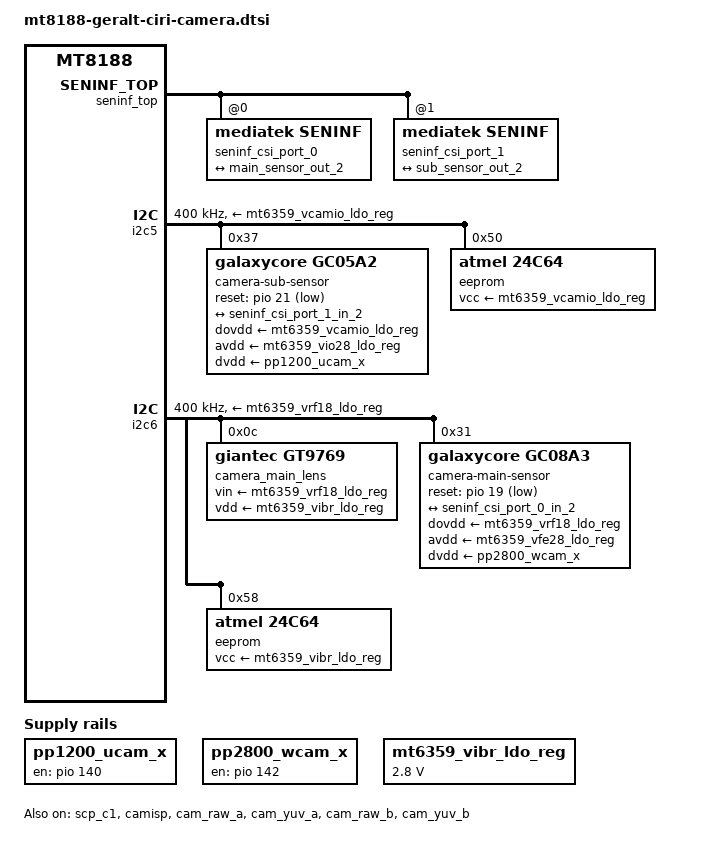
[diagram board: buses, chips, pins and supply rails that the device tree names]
// SPDX-License-Identifier: GPL-2.0
/* Copyright (c) 2023 MediaTek Inc. */

#include <dt-bindings/gpio/gpio.h>
#include <dt-bindings/media/video-interfaces.h>

/ {
	pp1200_ucam_x: pp1200-ucam-x {
		compatible = "regulator-fixed";
		regulator-name = "pp1200_ucam_x";
		gpio = <&pio 140 GPIO_ACTIVE_HIGH>;
		enable-active-high;
		pinctrl-names = "default";
		pinctrl-0 = <&pp1200_ucam_x_pins>;
	};

	pp2800_wcam_x: pp2800-wcam-x {
		compatible = "regulator-fixed";
		regulator-name = "pp2800_wcam_x";
		gpio = <&pio 142 GPIO_ACTIVE_HIGH>;
		enable-active-high;
		pinctrl-names = "default";
		pinctrl-0 = <&pp2800_wcam_x_pins>;
	};
};

&seninf_top {
	status = "okay";

		seninf_csi_port_0: csi-receiver@0 {
			compatible = "mediatek,seninf";
			csi-port = "0";
			port {
				seninf_csi_port_0_in_2: endpoint@2 {
					data-lanes = <1 2 3 4>;
					remote-endpoint = <&main_sensor_out_2>;
				};
			};
		};

		seninf_csi_port_1: csi-receiver@1 {
			compatible = "mediatek,seninf";
			csi-port = "1";
			port {
				seninf_csi_port_1_in_2: endpoint@2 {
					data-lanes = <1 4>;
					remote-endpoint = <&sub_sensor_out_2>;
				};
			};
		};
};

&pio {
	camera_main_sensor_pins: camera-main-sensor-pins {
		pins-cmd-dat {
			pinmux = <PINMUX_GPIO22__FUNC_O_CMMCLK0>;
			drive-strength = <MTK_DRIVE_2mA>;
		};
	};

	camera_sub_sensor_pins: camera-sub-sensor-pins {
		pins-cmd-dat {
			pinmux = <PINMUX_GPIO23__FUNC_O_CMMCLK1>;
			drive-strength = <MTK_DRIVE_2mA>;
		};
	};

	pp1200_ucam_x_pins: pp1200-ucam-x-pins {
		pins-cmd-dat {
			pinmux = <PINMUX_GPIO140__FUNC_B_GPIO140>;
			output-low;
		};
	};

	pp2800_wcam_x_pins: pp2800-wcam-x-pins {
		pins-cmd-dat {
			pinmux = <PINMUX_GPIO142__FUNC_B_GPIO142>;
			output-low;
		};
	};
};

&mt6359_vibr_ldo_reg {
	regulator-min-microvolt = <2800000>;
	regulator-max-microvolt = <2800000>;
};

&i2c5 {
	clock-frequency = <400000>;
	vbus-supply = <&mt6359_vcamio_ldo_reg>;
	status = "okay";

	camera-sub-sensor@37 {
		compatible = "galaxycore,gc05a2";
		reg = <0x37>;

		orientation = <0>;
		rotation = <0>;

		clocks = <&topckgen CLK_TOP_CAMTG2>;

		reset-gpios = <&pio 21 GPIO_ACTIVE_LOW>;

		pinctrl-names = "default";
		pinctrl-0 = <&camera_sub_sensor_pins>;

		dovdd-supply = <&mt6359_vcamio_ldo_reg>;
		avdd-supply = <&mt6359_vio28_ldo_reg>;
		dvdd-supply = <&pp1200_ucam_x>;

		port {
			sub_sensor_out_2: endpoint {
				bus-type = <MEDIA_BUS_TYPE_CSI2_DPHY>;
				data-lanes = <1 4>;
				link-frequencies = /bits/ 64 <448000000 224000000>;
				remote-endpoint = <&seninf_csi_port_1_in_2>;
			};
		};
	};

	eeprom@50 {
		compatible = "atmel,24c64";
		reg = <0x50>;
		pagesize = <32>;
		vcc-supply = <&mt6359_vcamio_ldo_reg>;
	};
};

&i2c6 {
	clock-frequency = <400000>;
	vbus-supply = <&mt6359_vrf18_ldo_reg>;
	status = "okay";

	camera_main_lens: camera-main-lens@c {
		compatible = "giantec,gt9769";
		reg = <0x0c>;

		vin-supply = <&mt6359_vrf18_ldo_reg>;
		vdd-supply = <&mt6359_vibr_ldo_reg>;
	};

	camera-main-sensor@31 {
		compatible = "galaxycore,gc08a3";
		reg = <0x31>;

		orientation = <1>;
		rotation = <0>;

		clocks = <&topckgen CLK_TOP_CAMTG>;

		reset-gpios = <&pio 19 GPIO_ACTIVE_LOW>;

		pinctrl-names = "default";
		pinctrl-0 = <&camera_main_sensor_pins>;

		dovdd-supply = <&mt6359_vrf18_ldo_reg>;
		avdd-supply = <&mt6359_vfe28_ldo_reg>;
		dvdd-supply = <&pp2800_wcam_x>;

		lens-focus = <&camera_main_lens>;

		port {
			main_sensor_out_2: endpoint {
				bus-type = <MEDIA_BUS_TYPE_CSI2_DPHY>;
				data-lanes = <1 2 3 4>;
				link-frequencies = /bits/ 64 <336000000 207000000>;
				remote-endpoint = <&seninf_csi_port_0_in_2>;
			};
		};
	};

	eeprom@58 {
		compatible = "atmel,24c64";
		reg = <0x58>;
		pagesize = <32>;
		vcc-supply = <&mt6359_vibr_ldo_reg>;
	};
};


&scp_c1 {
	firmware-name = "mediatek/mt8188/scp-dual.img";
	memory-region = <&scp_dual_mem>, <&scp_isp_cma>;
	status = "okay";
};

&camisp {
	status = "okay";
};

&cam_raw_a {
	status = "okay";
};

&cam_yuv_a {
	status = "okay";
};

&cam_raw_b {
	status = "okay";
};

&cam_yuv_b {
	status = "okay";
};
